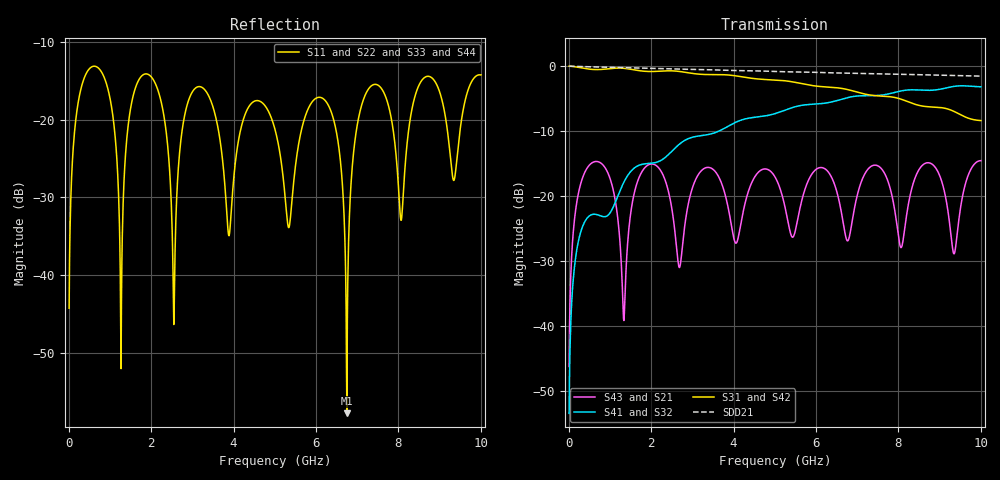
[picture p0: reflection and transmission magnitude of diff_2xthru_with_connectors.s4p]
! Created with skrf (http://scikit-rf.org).
# GHz S RI R 50.0
!freq ReS11 ImS11 ReS12 ImS12 ReS13 ImS13
! ReS14 ImS14
! ReS21 ImS21 ReS22 ImS22 ReS23 ImS23
! ReS24 ImS24
! ReS31 ImS31 ReS32 ImS32 ReS33 ImS33
! ReS34 ImS34
! ReS41 ImS41 ReS42 ImS42 ReS43 ImS43
! ReS44 ImS44
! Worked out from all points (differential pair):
!   1000 points, 10 MHz to 10 GHz, reference 50 ohm
!   strongest paths, dB at 10 MHz, 2.51 GHz, 5.01 GHz, 7.51 GHz, 10 GHz:
!     S31: 0.0, -0.7, -2.1, -4.6, -8.4
!     S42: 0.0, -0.7, -2.1, -4.6, -8.4
!     S41: -53.5, -13.1, -7.3, -4.5, -3.2
!     S32: -53.5, -13.1, -7.3, -4.5, -3.2
!     S43: -46.3, -22.3, -17.1, -15.4, -14.6
!     S21: -46.3, -22.3, -17.1, -15.4, -14.6
!   taken as a pair (ports 1,2 in; 3,4 out), SDD21 dB: 0.0, -0.4, -0.8, -1.2, -1.5
!   lowest |S11| = -57.8 dB at 6.75 GHz (marker M1), VSWR 1.00, Z = 49.9 - j0.0102 ohm
!   |S11| at or under -10 dB: start of sweep to end of sweep
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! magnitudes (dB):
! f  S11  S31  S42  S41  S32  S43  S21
! 10 MHz  -44.2  0.0  0.0  -53.5  -53.5  -46.3  -46.3
! 630 MHz  -13.1  -0.5  -0.5  -22.8  -22.8  -14.7  -14.7
! 1.27 GHz  -52.0  -0.3  -0.3  -18.8  -18.8  -29.7  -29.7
! 1.79 GHz  -14.3  -0.8  -0.8  -15.1  -15.1  -16.1  -16.1
! 6.19 GHz  -17.4  -3.2  -3.2  -5.7  -5.7  -15.7  -15.7
! 6.75 GHz  -57.8  -3.6  -3.6  -4.9  -4.9  -26.8  -26.8
! 10 GHz  -14.2  -8.4  -8.4  -3.2  -3.2  -14.6  -14.6
